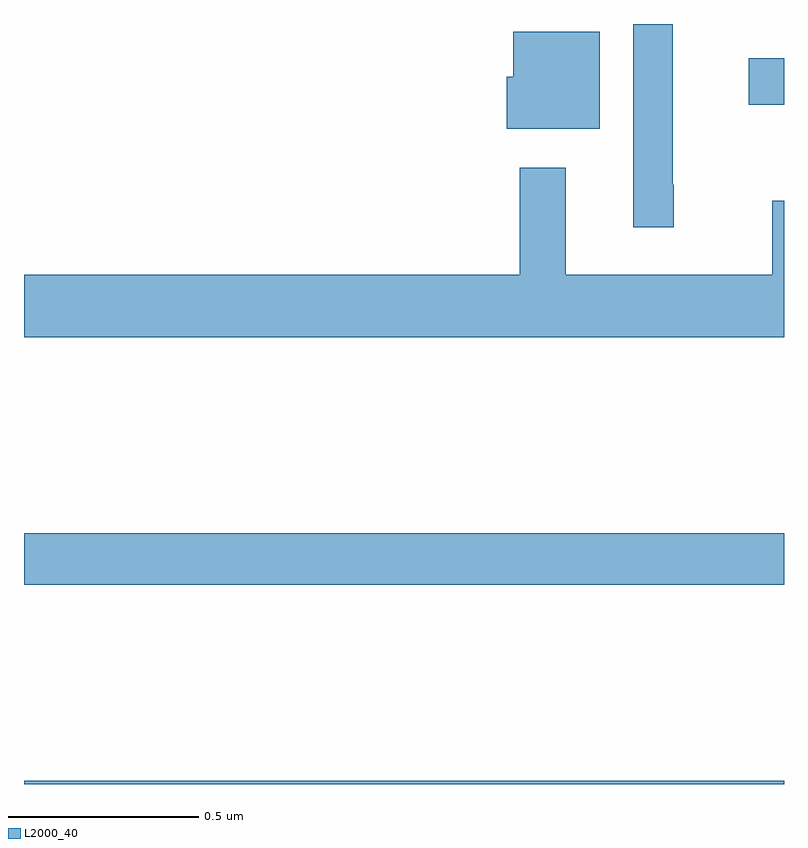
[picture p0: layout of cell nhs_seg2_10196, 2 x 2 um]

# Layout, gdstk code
import gdstk
lib = gdstk.Library(unit=1e-6, precision=1e-09)
def R(c, l, rs):  # rectangles x0, y0, x1, y1
    for r in rs: c.add(gdstk.rectangle(r[:2], r[2:], *l))
def P(c, l, *ps):  # polygons
    for p in ps: c.add(gdstk.Polygon(p, *l))
L2000_40 = (2000, 40)

nhs_seg2_10196 = lib.new_cell('nhs_seg2_10196')
R(nhs_seg2_10196, L2000_40, [(238,639.8,240,639.808), (238,640.324,240,640.46), (239.907,641.588,240,641.71)])
P(nhs_seg2_10196, L2000_40, [(239.71,641.377),(239.707,641.377),(239.707,641.8),(239.603,641.8),(239.603,641.265),(239.71,641.265)],
  [(239.515,641.779),(239.288,641.779),(239.288,641.661),(239.27,641.661),(239.27,641.525),(239.515,641.525)],
  [(240,641.335),(239.969,641.335),(239.969,641.14),(239.425,641.14),(239.425,641.422),(239.304,641.422),(239.304,641.14),(238,641.14),(238,640.976),(240,640.976)])

lib.write_gds('nhs_seg2_10196.gds')
